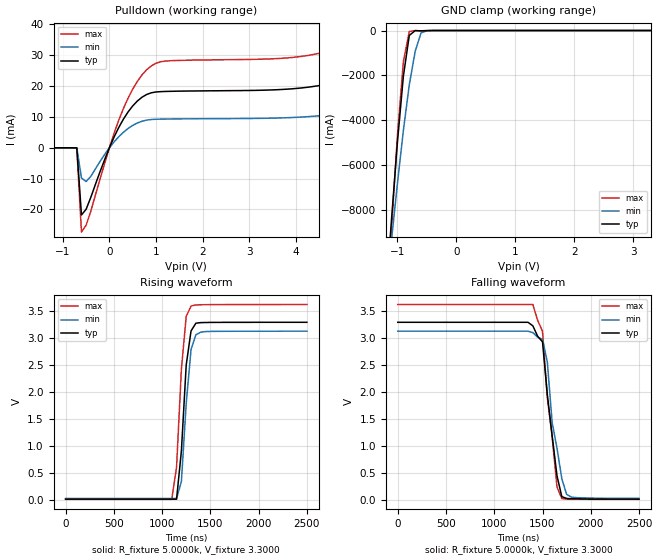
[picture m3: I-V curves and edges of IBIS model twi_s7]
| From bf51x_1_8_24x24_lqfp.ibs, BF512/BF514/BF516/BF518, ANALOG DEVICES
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[Model]   twi_s7
Model_type   I/O_open_drain
Polarity   Non-Inverting
Enable   Active-Low
Vinl =   0.9900V
Vinh =   2.3100V
Vmeas =   1.6500V
Cref =  50.0000pF
Rref =   5.0000k
Vref =   3.3000V
C_comp   7.1300pF   6.4200pF   7.8500pF
[Temperature Range]   25.0000   0.1250k   0.000
[Voltage Range]   3.3000V   3.1350V   3.6300V
[Pullup Reference]   3.3000V   3.1350V   3.6300V
[Pulldown Reference]   0.000V   0.000V   0.000V
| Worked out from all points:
|   slope of the pulldown table from 0 to 0.495 V, typ, clamps not added: 36.8 ohm
|   GND clamp passes 1 mA (typ) near -0.42 V on its own axis
|   rising waveform, R_fixture 5.0000k, V_fixture 3.3000: 20-80 % time 73.8ns typ, 75.4ns min, 70.9ns max; typ from 0.018 V to 3.3 V
|   falling waveform, R_fixture 5.0000k, V_fixture 3.3000: 20-80 % time 120ns typ, 125ns min, 114ns max; typ from 3.3 V to 0.018 V
[Pulldown]
| voltage   I(typ)   I(min)   I(max)
-3.3V     0A         0A         0A
-700mV    -33uA      0A         -71uA
-600mV    -21.78mA   -9.8mA     -27.33mA
-500mV    -19.93mA   -10.95mA   -25.1mA
0V        0A         0A         0A
300mV     9.264mA    5.026mA    12.7mA
600mV     15.16mA    8.034mA    21.53mA
900mV     17.83mA    9.177mA    26.56mA
3.9V      19.1mA     9.804mA    29.25mA
4.9V      21.37mA    11.04mA    32.26mA
6.1V      28.3mA     14.7mA     42.06mA
6.6V      1.867A     22.87mA    4.145A
[GND_clamp]
| voltage   I(typ)   I(min)   I(max)
-3.3V     -92.66A    -68.53A    -112A
-1.2V     -11.99A    -11.86A    -13.19A
-1.1V     -8.386A    -9.302A    -8.788A
-1V       -4.95A     -6.808A    -4.648A
-900mV    -2.038A    -4.453A    -1.382A
-800mV    -218.6mA   -2.426A    -44.06mA
-700mV    -4.923mA   -929.4mA   -1.44mA
-600mV    -13.47mA   -102.3mA   -20.2mA
-500mV    -3.405mA   -11.16mA   -6.101mA
3.3V      12.28nA    68.02nA    23.81nA
[Ramp]
| variable   typ   min   max
dV/dt_r   1.9685/63.5380n   1.8616/67.2513n   2.1684/60.8061n
dV/dt_f   1.9688/0.1114u   1.8611/0.1250u   2.1684/0.1063u
R_load = 5.0000k
[Rising Waveform]
R_fixture = 5.0000k
V_fixture = 3.3000
V_fixture_min = 3.1350
V_fixture_max = 3.6300
L_fixture = 0.000H
C_fixture = 0.000F
| time   V(typ)   V(min)   V(max)
0s        18.12mV    31.3mV     14.92mV
1.1us     18.12mV    31.3mV     14.92mV
1.15us    18.12mV    31.3mV     614.7mV
1.2us     910.2mV    344.6mV    2.433V
1.25us    2.51V      1.792V     3.408V
1.3us     3.139V     2.793V     3.602V
1.35us    3.282V     3.066V     3.62V
1.4us     3.293V     3.116V     3.624V
1.6us     3.297V     3.131V     3.627V
2.5us     3.299V     3.134V     3.629V
[Falling Waveform]
R_fixture = 5.0000k
V_fixture = 3.3000
V_fixture_min = 3.1350
V_fixture_max = 3.6300
L_fixture = 0.000H
C_fixture = 0.000F
| time   V(typ)   V(min)   V(max)
0s        3.299V     3.134V     3.629V
1.4us     3.233V     3.108V     3.629V
1.5us     2.937V     2.982V     3.132V
1.55us    1.956V     2.562V     1.899V
1.6us     1.195V     1.44V      1.176V
1.65us    452.3mV    964.8mV    247.4mV
1.7us     65.5mV     397.3mV    28.59mV
1.75us    31.01mV    107.6mV    21.45mV
1.8us     25.75mV    54.99mV    19.46mV
2.5us     17.86mV    32.22mV    15.01mV
